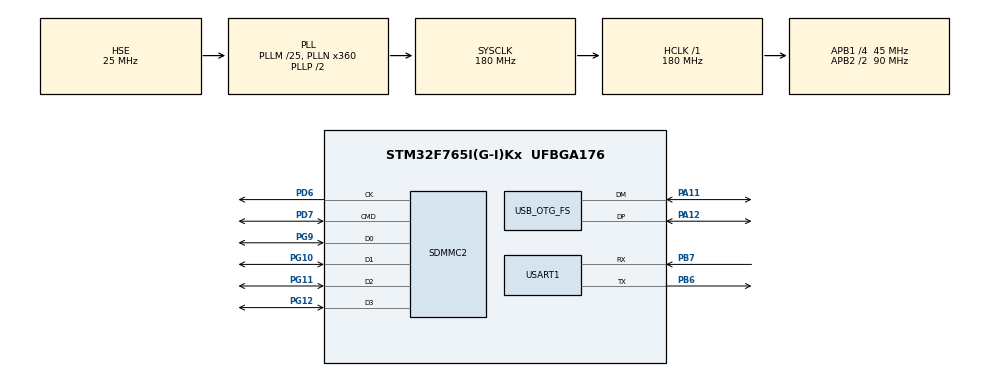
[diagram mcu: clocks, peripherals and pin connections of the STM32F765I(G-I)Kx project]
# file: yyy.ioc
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Dma.Request0=SDMMC2_RX
Dma.Request1=SDMMC2_TX
Dma.SDMMC2_RX.0.Direction=DMA_PERIPH_TO_MEMORY
Dma.SDMMC2_RX.0.FIFOMode=DMA_FIFOMODE_ENABLE
Dma.SDMMC2_RX.0.FIFOThreshold=DMA_FIFO_THRESHOLD_FULL
Dma.SDMMC2_RX.0.Instance=DMA2_Stream0
Dma.SDMMC2_RX.0.MemBurst=DMA_MBURST_INC4
Dma.SDMMC2_RX.0.MemDataAlignment=DMA_MDATAALIGN_WORD
Dma.SDMMC2_RX.0.MemInc=DMA_MINC_ENABLE
Dma.SDMMC2_RX.0.Mode=DMA_PFCTRL
Dma.SDMMC2_RX.0.PeriphBurst=DMA_PBURST_INC4
Dma.SDMMC2_RX.0.PeriphDataAlignment=DMA_PDATAALIGN_WORD
Dma.SDMMC2_RX.0.PeriphInc=DMA_PINC_DISABLE
Dma.SDMMC2_RX.0.Priority=DMA_PRIORITY_LOW
Dma.SDMMC2_TX.1.Direction=DMA_MEMORY_TO_PERIPH
Dma.SDMMC2_TX.1.FIFOMode=DMA_FIFOMODE_ENABLE
Dma.SDMMC2_TX.1.FIFOThreshold=DMA_FIFO_THRESHOLD_FULL
Dma.SDMMC2_TX.1.Instance=DMA2_Stream5
Dma.SDMMC2_TX.1.MemBurst=DMA_MBURST_INC4
Dma.SDMMC2_TX.1.MemDataAlignment=DMA_MDATAALIGN_WORD
Dma.SDMMC2_TX.1.MemInc=DMA_MINC_ENABLE
Dma.SDMMC2_TX.1.Mode=DMA_PFCTRL
Dma.SDMMC2_TX.1.PeriphBurst=DMA_PBURST_INC4
Dma.SDMMC2_TX.1.PeriphDataAlignment=DMA_PDATAALIGN_WORD
Dma.SDMMC2_TX.1.PeriphInc=DMA_PINC_DISABLE
Dma.SDMMC2_TX.1.Priority=DMA_PRIORITY_LOW
Mcu.Family=STM32F7
Mcu.Name=STM32F765I(G-I)Kx
Mcu.Package=UFBGA176
NVIC.DMA2_Stream0_IRQn=true\:0\:0\:false\:false\:true\:false\:true
NVIC.DMA2_Stream5_IRQn=true\:0\:0\:false\:false\:true\:false\:true
NVIC.OTG_FS_IRQn=true\:0\:0\:false\:false\:true\:false\:true
NVIC.PriorityGroup=NVIC_PRIORITYGROUP_4
NVIC.SDMMC2_IRQn=true\:0\:0\:false\:false\:true\:true\:true
NVIC.USART1_IRQn=true\:0\:0\:false\:false\:true\:true\:true
PA11.Mode=Device_Only
PA11.Signal=USB_OTG_FS_DM
PA12.Mode=Device_Only
PA12.Signal=USB_OTG_FS_DP
PA13.Mode=Serial_Wire
PA13.Signal=SYS_JTMS-SWDIO
PA14.Mode=Serial_Wire
PA14.Signal=SYS_JTCK-SWCLK
PB6.Mode=Asynchronous
PB6.Signal=USART1_TX
PB7.Mode=Asynchronous
PB7.Signal=USART1_RX
PD6.Mode=SD_4_bits_Wide_bus
PD6.Signal=SDMMC2_CK
PD7.Mode=SD_4_bits_Wide_bus
PD7.Signal=SDMMC2_CMD
PG10.Mode=SD_4_bits_Wide_bus
PG10.Signal=SDMMC2_D1
PG11.Mode=SD_4_bits_Wide_bus
PG11.Signal=SDMMC2_D2
PG12.Mode=SD_4_bits_Wide_bus
PG12.Signal=SDMMC2_D3
PG9.Mode=SD_4_bits_Wide_bus
PG9.Signal=SDMMC2_D0
PH0/OSC_IN.Mode=HSE-External-Oscillator
PH0/OSC_IN.Signal=RCC_OSC_IN
PH1/OSC_OUT.Mode=HSE-External-Oscillator
PH1/OSC_OUT.Signal=RCC_OSC_OUT
ProjectManager.HeapSize=0x200
ProjectManager.StackSize=0x400
ProjectManager.TargetToolchain=MDK-ARM V5
RCC.AHBFreq_Value=180000000
RCC.APB1CLKDivider=RCC_HCLK_DIV4
RCC.APB1Freq_Value=45000000
RCC.APB1TimFreq_Value=90000000
RCC.APB2CLKDivider=RCC_HCLK_DIV2
RCC.APB2Freq_Value=90000000
RCC.APB2TimFreq_Value=180000000
RCC.CortexFreq_Value=180000000
RCC.HCLKFreq_Value=180000000
RCC.HSE_VALUE=25000000
RCC.HSI_VALUE=16000000
RCC.LSE_VALUE=32768
RCC.PLL48CLockSelection=RCC_CLK48SOURCE_PLLSAIP
RCC.PLLM=25
RCC.PLLN=360
RCC.PLLQ=9
RCC.PLLSAIP=RCC_PLLSAIP_DIV4
RCC.PLLSourceVirtual=RCC_PLLSOURCE_HSE
RCC.SDMMC2ClockSelection=RCC_SDMMC2CLKSOURCE_CLK48
RCC.SYSCLKFreq_VALUE=180000000
RCC.SYSCLKSource=RCC_SYSCLKSOURCE_PLLCLK
RCC.USBFreq_Value=48000000
RCC.VCOOutputFreq_Value=360000000
USART1.VirtualMode-Asynchronous=VM_ASYNC
USB_DEVICE.CLASS_NAME_FS=MSC
USB_DEVICE.MSC_MEDIA_PACKET-MSC_FS=1024
USB_DEVICE.VirtualMode-MSC_FS=Msc
USB_DEVICE.VirtualModeFS=Msc_FS
USB_OTG_FS.VirtualMode=Device_Only
VP_USB_DEVICE_VS_USB_DEVICE_MSC_FS.Mode=MSC_FS
board=custom

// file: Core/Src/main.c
/* USER CODE BEGIN Header */
/**
  ******************************************************************************
  * @file           : main.c
  * @brief          : Main program body
  ******************************************************************************
  * @attention
  *
  * <h2><center>&copy; Copyright (c) 2019 STMicroelectronics.
  * All rights reserved.</center></h2>
  *
  * This software component is licensed by ST under BSD 3-Clause license,
  * the "License"; You may not use this file except in compliance with the
  * License. You may obtain a copy of the License at:
  *                        opensource.org/licenses/BSD-3-Clause
  *
  ******************************************************************************
  */
/* USER CODE END Header */

#include "main.h"
#include "dma.h"
#include "sdmmc.h"
#include "usart.h"
#include "usb_device.h"
#include "gpio.h"

/* USER CODE BEGIN Includes */
#include <stdio.h>
/* USER CODE END Includes */

void SystemClock_Config(void);

/* USER CODE BEGIN 0 */

#define print_buf(buf, size, fmt...)      \
do {                                      \
	uint32_t i;                           \
                                          \
	printf(fmt);                          \
	for(i = 0; i < size; i++)             \
	{                                     \
		printf("%02x ", buf[i]);          \
	}                                     \
	printf("\r\n");                       \
} while(0)

/**
 * wait for the idle of sd card
 * @param n: timeout tick
 * @return: 1 --- failed
 *          0 --- success
 */
static int32_t wait_sd_idle(uint32_t n)
{
	uint32_t i;
	HAL_SD_CardStateTypeDef sta;

	for(i = 0; i < n; i++)
	{
		HAL_Delay(5);
		sta = HAL_SD_GetCardState(&hsd2);
		if(sta != HAL_SD_CARD_ERROR && sta != HAL_SD_CARD_DISCONNECTED)
		{
			break;
		}
	}
	if(i >= n)
	{
		return 1;
	}
	return 0;
}

static void sd_test(void)
{
	static uint8_t wbuf[512 * 40];
	static uint8_t rbuf[sizeof(wbuf)];
	uint32_t i;
	HAL_SD_CardInfoTypeDef info;

	for(i = 0; i < sizeof(wbuf); i++)
	{
		wbuf[i] = i;
	}

	printf("sd_test start----------------------------------------------\r\n");
	HAL_SD_GetCardInfo(&hsd2, &info);
	printf("CardType=%d\r\n", info.CardType);
	printf("CardVersion=%d\r\n", info.CardVersion);
	printf("Class=%d\r\n", info.Class);
	printf("RelCardAdd=%d\r\n", info.RelCardAdd);
	printf("BlockNbr=%d\r\n", info.BlockNbr);
	printf("BlockSize=%d\r\n", info.BlockSize);
	printf("LogBlockNbr=%d\r\n", info.LogBlockNbr);
	printf("LogBlockSize=%d\r\n", info.LogBlockSize);

	if(wait_sd_idle(5) || HAL_SD_WriteBlocks(&hsd2, wbuf, 4, sizeof(wbuf) / 512, 10) != HAL_OK)
	{
		printf("error, sd wrote failed\r\n");
		return;
	}

	if(wait_sd_idle(5) || HAL_SD_ReadBlocks(&hsd2, rbuf, 4, sizeof(rbuf) / 512, 10) != HAL_OK)
	{
		printf("error, sd read failed\r\n");
		return;
	}

	for(i = 0; i < sizeof(wbuf); i++)
	{
		if(wbuf[i] != rbuf[i])
		{
			printf("error, wbuf != rbuf, i=%d\r\n", i);
			print_buf(wbuf, 10, "wbuf=");
			print_buf(rbuf, 10, "rbuf=");
			return;
		}
	}

	printf("sd_test ok\r\n");
}
/* USER CODE END 0 */

int main(void)
{

  /* MCU Configuration--------------------------------------------------------*/

  /* Reset of all peripherals, Initializes the Flash interface and the Systick. */
  HAL_Init();

  /* Configure the system clock */
  SystemClock_Config();

  /* Initialize all configured peripherals */
  MX_GPIO_Init();
  MX_DMA_Init();
  MX_SDMMC2_SD_Init();
  MX_USART1_UART_Init();
  MX_USB_DEVICE_Init();
  /* USER CODE BEGIN 2 */
  sd_test();
  /* USER CODE END 2 */

  /* Infinite loop */
  while (1)
  {

  }
}

void SystemClock_Config(void)
{
  RCC_OscInitTypeDef RCC_OscInitStruct = {0};
  RCC_ClkInitTypeDef RCC_ClkInitStruct = {0};
  RCC_PeriphCLKInitTypeDef PeriphClkInitStruct = {0};

  /** Configure the main internal regulator output voltage
  */
  __HAL_RCC_PWR_CLK_ENABLE();
  __HAL_PWR_VOLTAGESCALING_CONFIG(PWR_REGULATOR_VOLTAGE_SCALE1);
  /** Initializes the CPU, AHB and APB busses clocks
  */
  RCC_OscInitStruct.OscillatorType = RCC_OSCILLATORTYPE_HSE;
  RCC_OscInitStruct.HSEState = RCC_HSE_ON;
  RCC_OscInitStruct.PLL.PLLState = RCC_PLL_ON;
  RCC_OscInitStruct.PLL.PLLSource = RCC_PLLSOURCE_HSE;
  RCC_OscInitStruct.PLL.PLLM = 25;
  RCC_OscInitStruct.PLL.PLLN = 360;
  RCC_OscInitStruct.PLL.PLLP = RCC_PLLP_DIV2;
  RCC_OscInitStruct.PLL.PLLQ = 9;
  if (HAL_RCC_OscConfig(&RCC_OscInitStruct) != HAL_OK)
  {
    Error_Handler();
  }
  /** Initializes the CPU, AHB and APB busses clocks
  */
  RCC_ClkInitStruct.ClockType = RCC_CLOCKTYPE_HCLK|RCC_CLOCKTYPE_SYSCLK
                              |RCC_CLOCKTYPE_PCLK1|RCC_CLOCKTYPE_PCLK2;
  RCC_ClkInitStruct.SYSCLKSource = RCC_SYSCLKSOURCE_PLLCLK;
  RCC_ClkInitStruct.AHBCLKDivider = RCC_SYSCLK_DIV1;
  RCC_ClkInitStruct.APB1CLKDivider = RCC_HCLK_DIV4;
  RCC_ClkInitStruct.APB2CLKDivider = RCC_HCLK_DIV2;

  if (HAL_RCC_ClockConfig(&RCC_ClkInitStruct, FLASH_LATENCY_5) != HAL_OK)
  {
    Error_Handler();
  }
  PeriphClkInitStruct.PeriphClockSelection = RCC_PERIPHCLK_USART1|RCC_PERIPHCLK_SDMMC2
                              |RCC_PERIPHCLK_CLK48;
  PeriphClkInitStruct.PLLSAI.PLLSAIN = 192;
  PeriphClkInitStruct.PLLSAI.PLLSAIR = 2;
  PeriphClkInitStruct.PLLSAI.PLLSAIQ = 2;
  PeriphClkInitStruct.PLLSAI.PLLSAIP = RCC_PLLSAIP_DIV4;
  PeriphClkInitStruct.PLLSAIDivQ = 1;
  PeriphClkInitStruct.PLLSAIDivR = RCC_PLLSAIDIVR_2;
  PeriphClkInitStruct.Usart1ClockSelection = RCC_USART1CLKSOURCE_PCLK2;
  PeriphClkInitStruct.Clk48ClockSelection = RCC_CLK48SOURCE_PLLSAIP;
  PeriphClkInitStruct.Sdmmc2ClockSelection = RCC_SDMMC2CLKSOURCE_CLK48;
  if (HAL_RCCEx_PeriphCLKConfig(&PeriphClkInitStruct) != HAL_OK)
  {
    Error_Handler();
  }
}

void Error_Handler(void)
{
  /* USER CODE BEGIN Error_Handler_Debug */
  /* User can add his own implementation to report the HAL error return state */
  printf("HAL error\r\n");
  /* USER CODE END Error_Handler_Debug */
}

/************************ (C) COPYRIGHT STMicroelectronics *****END OF FILE****/
